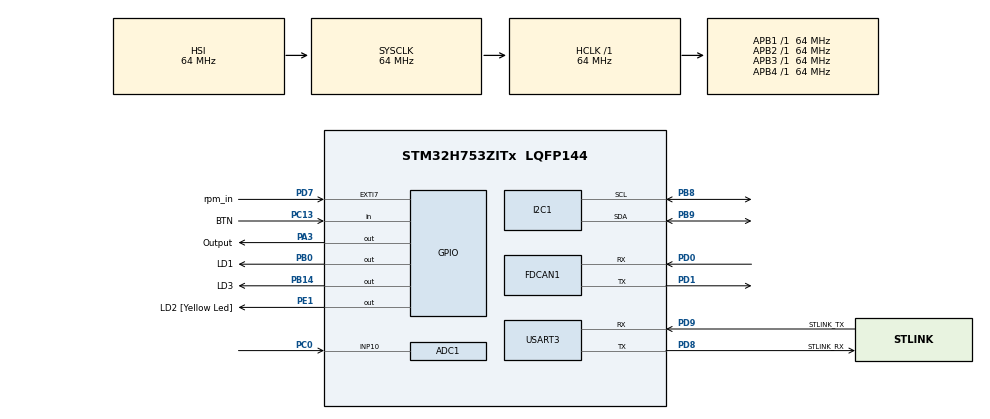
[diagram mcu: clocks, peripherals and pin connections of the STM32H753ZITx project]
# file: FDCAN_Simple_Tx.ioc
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ADC1.Channel-0\#ChannelRegularConversion=ADC_CHANNEL_10
ADC1.ContinuousConvMode=ENABLE
ADC1.NbrOfConversionFlag=1
ADC1.OffsetNumber-0\#ChannelRegularConversion=ADC_OFFSET_NONE
ADC1.OffsetSignedSaturation-0\#ChannelRegularConversion=DISABLE
ADC1.Rank-0\#ChannelRegularConversion=1
ADC1.SamplingTime-0\#ChannelRegularConversion=ADC_SAMPLETIME_1CYCLE_5
ADC1.master=1
CORTEX_M7.CPU_DCache=Disabled
CORTEX_M7.CPU_ICache=Disabled
CORTEX_M7.MPU_Control=__NULL
CORTEX_M7.default_mode_Activation=1
FDCAN1.AutoRetransmission=ENABLE
FDCAN1.CalculateBaudRateNominal=500000
FDCAN1.CalculateTimeBitNominal=2000
FDCAN1.CalculateTimeQuantumNominal=25.0
FDCAN1.DataPrescaler=16
FDCAN1.DataSyncJumpWidth=2
FDCAN1.DataTimeSeg1=2
FDCAN1.DataTimeSeg2=2
FDCAN1.FrameFormat=FDCAN_FRAME_FD_BRS
FDCAN1.NominalPrescaler=1
FDCAN1.NominalSyncJumpWidth=11
FDCAN1.NominalTimeSeg1=68
FDCAN1.NominalTimeSeg2=11
FDCAN1.RxBufferSize=FDCAN_DATA_BYTES_24
FDCAN1.RxFifo0ElmtSize=FDCAN_DATA_BYTES_24
FDCAN1.RxFifo0ElmtsNbr=0
FDCAN1.RxFifo1ElmtSize=FDCAN_DATA_BYTES_24
FDCAN1.StdFiltersNbr=1
FDCAN1.TransmitPause=DISABLE
FDCAN1.TxElmtSize=FDCAN_DATA_BYTES_24
FDCAN1.TxFifoQueueElmtsNbr=1
Mcu.Family=STM32H7
Mcu.Name=STM32H753ZITx
Mcu.Package=LQFP144
NVIC.EXTI9_5_IRQn=true\:0\:0\:false\:false\:true\:true\:true\:true
NVIC.FDCAN1_IT0_IRQn=true\:0\:0\:false\:false\:true\:true\:true\:true
NVIC.PriorityGroup=NVIC_PRIORITYGROUP_4
PA3.GPIO_Label=Output
PA3.Signal=GPIO_Output
PB0.GPIO_Label=LD1
PB0.Signal=GPIO_Output
PB14.GPIO_Label=LD3
PB14.Signal=GPIO_Output
PB8.Mode=I2C
PB8.Signal=I2C1_SCL
PB9.Mode=I2C
PB9.Signal=I2C1_SDA
PC0.Signal=ADCx_INP10
PC13.GPIO_Label=BTN
PC13.Signal=GPIO_Input
PC14-OSC32_IN\ (OSC32_IN).Signal=RCC_OSC32_IN
PC15-OSC32_OUT\ (OSC32_OUT).Signal=RCC_OSC32_OUT
PD0.Mode=FDCAN_Activate
PD0.Signal=FDCAN1_RX
PD1.Mode=FDCAN_Activate
PD1.Signal=FDCAN1_TX
PD7.GPIO_Label=rpm_in
PD7.Signal=GPXTI7
PD8.GPIO_Label=STLINK_RX
PD8.Mode=Asynchronous
PD8.Signal=USART3_TX
PD9.GPIO_Label=STLINK_TX
PD9.Mode=Asynchronous
PD9.Signal=USART3_RX
PE1.GPIO_Label=LD2 [Yellow Led]
PE1.Signal=GPIO_Output
PH0-OSC_IN\ (PH0).Signal=RCC_OSC_IN
PH1-OSC_OUT\ (PH1).Signal=RCC_OSC_OUT
ProjectManager.HeapSize=0x200
ProjectManager.StackSize=0x400
ProjectManager.TargetToolchain=STM32CubeIDE
RCC.ADCFreq_Value=80000000
RCC.APB1Freq_Value=64000000
RCC.APB2Freq_Value=64000000
RCC.APB3Freq_Value=64000000
RCC.APB4Freq_Value=64000000
RCC.CortexFreq_Value=64000000
RCC.DIVM1=4
RCC.DIVM2=4
RCC.DIVN1=10
RCC.DIVN2=10
RCC.DIVQ1=4
RCC.HCLKFreq_Value=64000000
RCC.HSE_VALUE=8000000
RCC.PLL2FRACN=0
RCC.PLLFRACN=0
RCC.PWR_Regulator_Voltage_Scale=PWR_REGULATOR_VOLTAGE_SCALE2
RCC.SYSCLKFreq_VALUE=64000000
RCC.USBFreq_Value=40000000
SH.ADCx_INP10.0=ADC1_INP10,IN10-Single-Ended
TIM6.Period=0xffff-1
TIM6.Prescaler=64-1
TIM7.Period=0xffff-1
TIM7.Prescaler=64-1
USART3.VirtualMode-Asynchronous=VM_ASYNC
VP_MEMORYMAP_VS_MEMORYMAP.Mode=CurAppReg
VP_TIM6_VS_ClockSourceINT.Mode=Enable_Timer
VP_TIM7_VS_ClockSourceINT.Mode=Enable_Timer
board=NUCLEO-H753ZI

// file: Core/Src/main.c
/* USER CODE BEGIN Header */
/**
  ******************************************************************************
  * @file           : main.c
  * @brief          : Main program body
  ******************************************************************************
  * @attention
  *
  * Copyright (c) 2025 STMicroelectronics.
  * All rights reserved.
  *
  * This software is licensed under terms that can be found in the LICENSE file
  * in the root directory of this software component.
  * If no LICENSE file comes with this software, it is provided AS-IS.
  *
  ******************************************************************************
  */
/* USER CODE END Header */
#include "main.h"

/* USER CODE BEGIN Includes */
#include "stdio.h"
#include "string.h"
#include <stdbool.h>

#define NODE_A_ID 1

#define ID_NODE_A_TX 0x100

#define DHT_PORT Output_GPIO_Port
#define DHT_PIN Output_Pin

#define MMA8451_ADDR        (0x1D << 1) // Dirección I2C (shifted)
#define WHO_AM_I_REG        0x0D
#define CTRL_REG1           0x2A
#define OUT_X_MSB           0x01

#define MMA8451_ADDR        (0x1D << 1) // Dirección I2C (shifted)
#define WHO_AM_I_REG        0x0D
#define CTRL_REG1           0x2A
#define OUT_X_MSB           0x01

uint8_t Rh_byte1, Rh_byte2, Temp_byte1, Temp_byte2, reflex;
uint16_t SUM;

uint16_t ADC_VAL;
float voltage=0;
float angle=0;

typedef struct {
    float Temperature;
    float Humidity;
} DHT_DataTypedef;

DHT_DataTypedef DHT11_Data;

float Temperature, Humidity;

int16_t ax, ay, az;
float ax_g, ay_g, az_g;

char msg[300];

volatile uint32_t pulse_count = 0;
uint32_t last_time = 0;
uint32_t rpm = 0;

uint32_t last_interrupt_time = 0;
const uint32_t debounce_ms = 10;

/* USER CODE END Includes */

ADC_HandleTypeDef hadc1;

FDCAN_HandleTypeDef hfdcan1;

I2C_HandleTypeDef hi2c1;

TIM_HandleTypeDef htim6;
TIM_HandleTypeDef htim7;

UART_HandleTypeDef huart3;

/* USER CODE BEGIN PV */

uint8_t Node_ID = NODE_A_ID;

// Datos CAN
FDCAN_TxHeaderTypeDef TxHeader;
//uint8_t TxData[1];
uint8_t TxData[64]; // 32-bit integer

float float1 = 3.1416f; // Valor de ejemplo a enviar
float float2 = 2.7182f;
float float3 = 1.34f;
uint8_t X=1;

//float receivedFloat = 0.0f;  // Variable para almacenar el float recibido
//char msg[50];

void SendFloat(float value1, float value2, float value3, float value4, float value5, float value6, float value7, float value8)
{
    // Copiar los floats al buffer
    memcpy(&TxData[0], &value1, sizeof(float));
    memcpy(&TxData[4], &value2, sizeof(float));
    memcpy(&TxData[8], &value3, sizeof(float));   // Angle
    memcpy(&TxData[12], &value4, sizeof(float));
    memcpy(&TxData[16], &value5, sizeof(float));
    memcpy(&TxData[20], &value6, sizeof(float));
    memcpy(&TxData[24], &value7, sizeof(float));
    memcpy(&TxData[28], &value8, sizeof(float));

    // Configurar el header (asegúrate de que esto ya está inicializado)
    TxHeader.DataLength = FDCAN_DLC_BYTES_64;  // 12 bytes
    TxHeader.IdType = FDCAN_STANDARD_ID;       // ID estándar

    // Enviar
    if (HAL_FDCAN_AddMessageToTxFifoQ(&hfdcan1, &TxHeader, TxData) != HAL_OK) {
        // Manejar error de transmisión
        Error_Handler();
    }
}

//CODE for Sensor

void delay (uint16_t delay)
{
	__HAL_TIM_SET_COUNTER(&htim6,0);
	while (__HAL_TIM_GET_COUNTER(&htim6) < delay);
}

uint8_t Presence = 0;

void Set_Pin_Output (GPIO_TypeDef *GPIOx, uint16_t GPIO_Pin)
{
	GPIO_InitTypeDef GPIO_InitStruct = {0};
	GPIO_InitStruct.Pin = GPIO_Pin;
	GPIO_InitStruct.Mode = GPIO_MODE_OUTPUT_PP;
	GPIO_InitStruct.Speed = GPIO_SPEED_FREQ_LOW;
	HAL_GPIO_Init(GPIOx, &GPIO_InitStruct);
}

void Set_Pin_Input (GPIO_TypeDef *GPIOx, uint16_t GPIO_Pin)
{
	GPIO_InitTypeDef GPIO_InitStruct = {0};
	GPIO_InitStruct.Pin = GPIO_Pin;
	GPIO_InitStruct.Mode = GPIO_MODE_INPUT;
	GPIO_InitStruct.Pull = GPIO_NOPULL;
	HAL_GPIO_Init(GPIOx, &GPIO_InitStruct);
}

void DHT_Start (void)
{
	Set_Pin_Output (DHT_PORT, DHT_PIN);  // set the pin as output
	HAL_GPIO_WritePin (DHT_PORT, DHT_PIN, 0);   // pull the pin low

	delay (18000);   // wait for 18ms

    HAL_GPIO_WritePin (DHT_PORT, DHT_PIN, 1);   // pull the pin high
    delay (20);   // wait for 30us
	Set_Pin_Input(DHT_PORT, DHT_PIN);    // set as input
}

uint8_t DHT_Check_Response (void)
{
	uint8_t Response = 0;
	delay (40);
	if (!(HAL_GPIO_ReadPin (DHT_PORT, DHT_PIN)))
	{
		delay (80);
		if ((HAL_GPIO_ReadPin (DHT_PORT, DHT_PIN))) Response = 1;
		else Response = -1;
	}
	while ((HAL_GPIO_ReadPin (DHT_PORT, DHT_PIN)));   // wait for the pin to go low

	return Response;
}

uint8_t DHT_Read (void)
{
    uint8_t i = 0, j = 0;
    for (j = 0; j < 8; j++)
    {
        uint32_t timeout = 0;
        while (!(HAL_GPIO_ReadPin (DHT_PORT, DHT_PIN)) && timeout++ < 1000);
        delay (40);
        if (!(HAL_GPIO_ReadPin (DHT_PORT, DHT_PIN)))
        {
            i &= ~(1 << (7 - j)); // Escribe 0 en el bit
        }
        else {
            i |= (1 << (7 - j));  // Escribe 1 en el bit
        }

        timeout = 0;
        while ((HAL_GPIO_ReadPin (DHT_PORT, DHT_PIN)) && timeout++ < 1000);
    }
    return i;
}

void DHT_GetData (DHT_DataTypedef *DHT_Data)
{
    DHT_Start ();
	Presence = DHT_Check_Response ();
	Rh_byte1 = DHT_Read ();
	Rh_byte2 = DHT_Read ();
	Temp_byte1 = DHT_Read ();
	Temp_byte2 = DHT_Read ();
	SUM = DHT_Read();

	if (SUM == (Rh_byte1+Rh_byte2+Temp_byte1+Temp_byte2))
	{
		DHT_Data->Temperature = Temp_byte1;
		DHT_Data->Humidity = Rh_byte1;

	}
}

uint8_t read_register(uint8_t reg) {
    uint8_t value;
    HAL_I2C_Mem_Read(&hi2c1, MMA8451_ADDR, reg, 1, &value, 1, HAL_MAX_DELAY);
    return value;
}

void write_register(uint8_t reg, uint8_t value) {
    HAL_I2C_Mem_Write(&hi2c1, MMA8451_ADDR, reg, 1, &value, 1, HAL_MAX_DELAY);
}

int16_t convert_accel(uint8_t msb, uint8_t lsb) {
    int16_t value = (msb << 8) | lsb;
    value = value >> 2;
    if (value & (1 << 13)) {
        value |= 0xC000;
    }
    return value;
}

void read_accel(int16_t *x, int16_t *y, int16_t *z) {
    uint8_t data[6];
    HAL_I2C_Mem_Read(&hi2c1, MMA8451_ADDR, OUT_X_MSB, 1, data, 6, HAL_MAX_DELAY);

    *x = convert_accel(data[0], data[1]);
    *y = convert_accel(data[2], data[3]);
    *z = convert_accel(data[4], data[5]);
}

/* USER CODE END PV */

void SystemClock_Config(void);
static void MX_GPIO_Init(void);
static void MX_FDCAN1_Init(void);
static void MX_TIM6_Init(void);
static void MX_ADC1_Init(void);
static void MX_I2C1_Init(void);
static void MX_TIM7_Init(void);
static void MX_USART3_UART_Init(void);

/* USER CODE BEGIN 0 */
void HAL_GPIO_EXTI_Callback(uint16_t GPIO_Pin)
{
    if (GPIO_Pin == rpm_in_Pin)
    {
        uint32_t now = HAL_GetTick();
        if (now - last_interrupt_time > debounce_ms)
        {
            pulse_count++;
            last_interrupt_time = now;
        }
    }
}
/* USER CODE END 0 */

int main(void)
{

  /* MCU Configuration--------------------------------------------------------*/

  /* Reset of all peripherals, Initializes the Flash interface and the Systick. */
  HAL_Init();

  /* Configure the system clock */
  SystemClock_Config();

  /* Initialize all configured peripherals */
  MX_GPIO_Init();
  MX_FDCAN1_Init();
  MX_TIM6_Init();
  MX_ADC1_Init();
  MX_I2C1_Init();
  MX_TIM7_Init();
  MX_USART3_UART_Init();
  /* USER CODE BEGIN 2 */
  last_time = HAL_GetTick();

  HAL_TIM_Base_Start(&htim6);
  //HAL_TIM_Base_Start_IT(&htim7);
  HAL_FDCAN_Start(&hfdcan1);
  HAL_FDCAN_ActivateNotification(&hfdcan1, FDCAN_IT_RX_FIFO0_NEW_MESSAGE, 0);

  // Configurar header de transmisión
  TxHeader.Identifier = ID_NODE_A_TX;
  TxHeader.IdType = FDCAN_STANDARD_ID;
  TxHeader.TxFrameType = FDCAN_DATA_FRAME;
  TxHeader.DataLength = FDCAN_DLC_BYTES_64;
  TxHeader.ErrorStateIndicator = FDCAN_ESI_ACTIVE;
  TxHeader.BitRateSwitch = FDCAN_BRS_ON;
  TxHeader.FDFormat = FDCAN_FD_CAN;
  TxHeader.TxEventFifoControl = FDCAN_NO_TX_EVENTS;
  TxHeader.MessageMarker = 0;

  int16_t ax, ay, az;
  uint8_t who_am_i = read_register(WHO_AM_I_REG);
  if (who_am_i != 0x1A) {  // El valor esperado para MMA8451
      Error_Handler();
  }

  // Configurar el acelerómetro
  write_register(CTRL_REG1, 0x01);  // Activar a 800Hz en modo activo
  HAL_Delay(10);

  /* USER CODE END 2 */

  /* Infinite loop */
  while (1)
  {

    /* USER CODE BEGIN 3 */

      DHT_GetData(&DHT11_Data);
      Temperature = DHT11_Data.Temperature;
      Humidity = DHT11_Data.Humidity;

	  HAL_ADC_Start(&hadc1);
	  HAL_ADC_PollForConversion(&hadc1, 10);
	  ADC_VAL=HAL_ADC_GetValue(&hadc1);
	  HAL_ADC_Stop(&hadc1);

	  voltage = (float)(ADC_VAL*3.3f)/ 65535.0f;
	  angle = (voltage*235)/3.3;

	  read_accel(&ax, &ay, &az);

	  float ax_ms2 = ax / 4096.0f * 9.81f;
	  float ay_ms2 = ay / 4096.0f * 9.81f;
	  float az_ms2 = az / 4096.0f * 9.81f;

	  uint32_t now = HAL_GetTick();

	  if (now - last_time >= 1000) // Cada 1 segundo
	  {
		  rpm = pulse_count * 60;
		  pulse_count = 0;
		  last_time = now;
	  }

	  //&& (now - last_time >= 1000)

	 if ( (Node_ID == NODE_A_ID)  )
	  {
		  SendFloat(rpm, Humidity, angle, ax_ms2, ay_ms2, az_ms2, Temperature, float2);
		  HAL_Delay(1000);

	  // Cambiar el valor para el próximo envío (opcional)
	  //float1 += 0.1f;
	  }

	  snprintf(msg, sizeof(msg), "Temperature: %.2f, Humidity: %.2f \r\n Angle: %.2f \r\n Ax: %.2f, Ay: %.2f Az: %.2f \r\n RPM: %.f Float1 %.2f \r\n Float2 %.2f \r\n", Temperature, Humidity, angle, ax_ms2, ay_ms2, az_ms2, (float)rpm, float1,float2);
	  HAL_UART_Transmit(&huart3, (uint8_t*)msg, strlen(msg), HAL_MAX_DELAY);

	  HAL_Delay(1000);

  }
  /* USER CODE END 3 */
}

void SystemClock_Config(void)
{
  RCC_OscInitTypeDef RCC_OscInitStruct = {0};
  RCC_ClkInitTypeDef RCC_ClkInitStruct = {0};

  /** Supply configuration update enable
  */
  HAL_PWREx_ConfigSupply(PWR_LDO_SUPPLY);

  /** Configure the main internal regulator output voltage
  */
  __HAL_PWR_VOLTAGESCALING_CONFIG(PWR_REGULATOR_VOLTAGE_SCALE2);

  while(!__HAL_PWR_GET_FLAG(PWR_FLAG_VOSRDY)) {}

  /** Initializes the RCC Oscillators according to the specified parameters
  * in the RCC_OscInitTypeDef structure.
  */
  RCC_OscInitStruct.OscillatorType = RCC_OSCILLATORTYPE_HSI;
  RCC_OscInitStruct.HSIState = RCC_HSI_DIV1;
  RCC_OscInitStruct.HSICalibrationValue = RCC_HSICALIBRATION_DEFAULT;
  RCC_OscInitStruct.PLL.PLLState = RCC_PLL_ON;
  RCC_OscInitStruct.PLL.PLLSource = RCC_PLLSOURCE_HSI;
  RCC_OscInitStruct.PLL.PLLM = 4;
  RCC_OscInitStruct.PLL.PLLN = 10;
  RCC_OscInitStruct.PLL.PLLP = 2;
  RCC_OscInitStruct.PLL.PLLQ = 4;
  RCC_OscInitStruct.PLL.PLLR = 2;
  RCC_OscInitStruct.PLL.PLLRGE = RCC_PLL1VCIRANGE_3;
  RCC_OscInitStruct.PLL.PLLVCOSEL = RCC_PLL1VCOMEDIUM;
  RCC_OscInitStruct.PLL.PLLFRACN = 0;
  if (HAL_RCC_OscConfig(&RCC_OscInitStruct) != HAL_OK)
  {
    Error_Handler();
  }

  /** Initializes the CPU, AHB and APB buses clocks
  */
  RCC_ClkInitStruct.ClockType = RCC_CLOCKTYPE_HCLK|RCC_CLOCKTYPE_SYSCLK
                              |RCC_CLOCKTYPE_PCLK1|RCC_CLOCKTYPE_PCLK2
                              |RCC_CLOCKTYPE_D3PCLK1|RCC_CLOCKTYPE_D1PCLK1;
  RCC_ClkInitStruct.SYSCLKSource = RCC_SYSCLKSOURCE_HSI;
  RCC_ClkInitStruct.SYSCLKDivider = RCC_SYSCLK_DIV1;
  RCC_ClkInitStruct.AHBCLKDivider = RCC_HCLK_DIV1;
  RCC_ClkInitStruct.APB3CLKDivider = RCC_APB3_DIV1;
  RCC_ClkInitStruct.APB1CLKDivider = RCC_APB1_DIV1;
  RCC_ClkInitStruct.APB2CLKDivider = RCC_APB2_DIV1;
  RCC_ClkInitStruct.APB4CLKDivider = RCC_APB4_DIV1;

  if (HAL_RCC_ClockConfig(&RCC_ClkInitStruct, FLASH_LATENCY_1) != HAL_OK)
  {
    Error_Handler();
  }
}

static void MX_ADC1_Init(void)
{

  ADC_MultiModeTypeDef multimode = {0};
  ADC_ChannelConfTypeDef sConfig = {0};

  /** Common config
  */
  hadc1.Instance = ADC1;
  hadc1.Init.ClockPrescaler = ADC_CLOCK_ASYNC_DIV2;
  hadc1.Init.Resolution = ADC_RESOLUTION_16B;
  hadc1.Init.ScanConvMode = ADC_SCAN_DISABLE;
  hadc1.Init.EOCSelection = ADC_EOC_SINGLE_CONV;
  hadc1.Init.LowPowerAutoWait = DISABLE;
  hadc1.Init.ContinuousConvMode = ENABLE;
  hadc1.Init.NbrOfConversion = 1;
  hadc1.Init.DiscontinuousConvMode = DISABLE;
  hadc1.Init.ExternalTrigConv = ADC_SOFTWARE_START;
  hadc1.Init.ExternalTrigConvEdge = ADC_EXTERNALTRIGCONVEDGE_NONE;
  hadc1.Init.ConversionDataManagement = ADC_CONVERSIONDATA_DR;
  hadc1.Init.Overrun = ADC_OVR_DATA_PRESERVED;
  hadc1.Init.LeftBitShift = ADC_LEFTBITSHIFT_NONE;
  hadc1.Init.OversamplingMode = DISABLE;
  hadc1.Init.Oversampling.Ratio = 1;
  if (HAL_ADC_Init(&hadc1) != HAL_OK)
  {
    Error_Handler();
  }

  /** Configure the ADC multi-mode
  */
  multimode.Mode = ADC_MODE_INDEPENDENT;
  if (HAL_ADCEx_MultiModeConfigChannel(&hadc1, &multimode) != HAL_OK)
  {
    Error_Handler();
  }

  /** Configure Regular Channel
  */
  sConfig.Channel = ADC_CHANNEL_10;
  sConfig.Rank = ADC_REGULAR_RANK_1;
  sConfig.SamplingTime = ADC_SAMPLETIME_1CYCLE_5;
  sConfig.SingleDiff = ADC_SINGLE_ENDED;
  sConfig.OffsetNumber = ADC_OFFSET_NONE;
  sConfig.Offset = 0;
  sConfig.OffsetSignedSaturation = DISABLE;
  if (HAL_ADC_ConfigChannel(&hadc1, &sConfig) != HAL_OK)
  {
    Error_Handler();
  }

}

static void MX_FDCAN1_Init(void)
{

  hfdcan1.Instance = FDCAN1;
  hfdcan1.Init.FrameFormat = FDCAN_FRAME_FD_NO_BRS;
  hfdcan1.Init.Mode = FDCAN_MODE_NORMAL;
  hfdcan1.Init.AutoRetransmission = ENABLE;
  hfdcan1.Init.TransmitPause = DISABLE;
  hfdcan1.Init.ProtocolException = DISABLE;
  hfdcan1.Init.NominalPrescaler = 1;
  hfdcan1.Init.NominalSyncJumpWidth = 11;
  hfdcan1.Init.NominalTimeSeg1 = 68;
  hfdcan1.Init.NominalTimeSeg2 = 11;
  hfdcan1.Init.DataPrescaler = 16;
  hfdcan1.Init.DataSyncJumpWidth = 2;
  hfdcan1.Init.DataTimeSeg1 = 2;
  hfdcan1.Init.DataTimeSeg2 = 2;
  hfdcan1.Init.MessageRAMOffset = 0;
  hfdcan1.Init.StdFiltersNbr = 1;
  hfdcan1.Init.ExtFiltersNbr = 0;
  hfdcan1.Init.RxFifo0ElmtsNbr = 0;
  hfdcan1.Init.RxFifo0ElmtSize = FDCAN_DATA_BYTES_24;
  hfdcan1.Init.RxFifo1ElmtsNbr = 0;
  hfdcan1.Init.RxFifo1ElmtSize = FDCAN_DATA_BYTES_24;
  hfdcan1.Init.RxBuffersNbr = 0;
  hfdcan1.Init.RxBufferSize = FDCAN_DATA_BYTES_24;
  hfdcan1.Init.TxEventsNbr = 0;
  hfdcan1.Init.TxBuffersNbr = 0;
  hfdcan1.Init.TxFifoQueueElmtsNbr = 1;
  hfdcan1.Init.TxFifoQueueMode = FDCAN_TX_FIFO_OPERATION;
  hfdcan1.Init.TxElmtSize = FDCAN_DATA_BYTES_24;
  if (HAL_FDCAN_Init(&hfdcan1) != HAL_OK)
  {
    Error_Handler();
  }

}

static void MX_I2C1_Init(void)
{

  hi2c1.Instance = I2C1;
  hi2c1.Init.Timing = 0x10707DBC;
  hi2c1.Init.OwnAddress1 = 0;
  hi2c1.Init.AddressingMode = I2C_ADDRESSINGMODE_7BIT;
  hi2c1.Init.DualAddressMode = I2C_DUALADDRESS_DISABLE;
  hi2c1.Init.OwnAddress2 = 0;
  hi2c1.Init.OwnAddress2Masks = I2C_OA2_NOMASK;
  hi2c1.Init.GeneralCallMode = I2C_GENERALCALL_DISABLE;
  hi2c1.Init.NoStretchMode = I2C_NOSTRETCH_DISABLE;
  if (HAL_I2C_Init(&hi2c1) != HAL_OK)
  {
    Error_Handler();
  }

  /** Configure Analogue filter
  */
  if (HAL_I2CEx_ConfigAnalogFilter(&hi2c1, I2C_ANALOGFILTER_ENABLE) != HAL_OK)
  {
    Error_Handler();
  }

  /** Configure Digital filter
  */
  if (HAL_I2CEx_ConfigDigitalFilter(&hi2c1, 0) != HAL_OK)
  {
    Error_Handler();
  }

}

static void MX_TIM6_Init(void)
{

  TIM_MasterConfigTypeDef sMasterConfig = {0};

  htim6.Instance = TIM6;
  htim6.Init.Prescaler = 64-1;
  htim6.Init.CounterMode = TIM_COUNTERMODE_UP;
  htim6.Init.Period = 0xffff-1;
  htim6.Init.AutoReloadPreload = TIM_AUTORELOAD_PRELOAD_DISABLE;
  if (HAL_TIM_Base_Init(&htim6) != HAL_OK)
  {
    Error_Handler();
  }
  sMasterConfig.MasterOutputTrigger = TIM_TRGO_RESET;
  sMasterConfig.MasterSlaveMode = TIM_MASTERSLAVEMODE_DISABLE;
  if (HAL_TIMEx_MasterConfigSynchronization(&htim6, &sMasterConfig) != HAL_OK)
  {
    Error_Handler();
  }

}

static void MX_TIM7_Init(void)
{

  TIM_MasterConfigTypeDef sMasterConfig = {0};

  htim7.Instance = TIM7;
  htim7.Init.Prescaler = 64-1;
  htim7.Init.CounterMode = TIM_COUNTERMODE_UP;
  htim7.Init.Period = 0xffff-1;
  htim7.Init.AutoReloadPreload = TIM_AUTORELOAD_PRELOAD_DISABLE;
  if (HAL_TIM_Base_Init(&htim7) != HAL_OK)
  {
    Error_Handler();
  }
  sMasterConfig.MasterOutputTrigger = TIM_TRGO_RESET;
  sMasterConfig.MasterSlaveMode = TIM_MASTERSLAVEMODE_DISABLE;
  if (HAL_TIMEx_MasterConfigSynchronization(&htim7, &sMasterConfig) != HAL_OK)
  {
    Error_Handler();
  }

}

static void MX_USART3_UART_Init(void)
{

  huart3.Instance = USART3;
  huart3.Init.BaudRate = 115200;
  huart3.Init.WordLength = UART_WORDLENGTH_8B;
  huart3.Init.StopBits = UART_STOPBITS_1;
  huart3.Init.Parity = UART_PARITY_NONE;
  huart3.Init.Mode = UART_MODE_TX_RX;
  huart3.Init.HwFlowCtl = UART_HWCONTROL_NONE;
  huart3.Init.OverSampling = UART_OVERSAMPLING_16;
  huart3.Init.OneBitSampling = UART_ONE_BIT_SAMPLE_DISABLE;
  huart3.Init.ClockPrescaler = UART_PRESCALER_DIV1;
  huart3.AdvancedInit.AdvFeatureInit = UART_ADVFEATURE_NO_INIT;
  if (HAL_UART_Init(&huart3) != HAL_OK)
  {
    Error_Handler();
  }
  if (HAL_UARTEx_SetTxFifoThreshold(&huart3, UART_TXFIFO_THRESHOLD_1_8) != HAL_OK)
  {
    Error_Handler();
  }
  if (HAL_UARTEx_SetRxFifoThreshold(&huart3, UART_RXFIFO_THRESHOLD_1_8) != HAL_OK)
  {
    Error_Handler();
  }
  if (HAL_UARTEx_DisableFifoMode(&huart3) != HAL_OK)
  {
    Error_Handler();
  }

}

static void MX_GPIO_Init(void)
{
  GPIO_InitTypeDef GPIO_InitStruct = {0};

  /* GPIO Ports Clock Enable */
  __HAL_RCC_GPIOC_CLK_ENABLE();
  __HAL_RCC_GPIOH_CLK_ENABLE();
  __HAL_RCC_GPIOA_CLK_ENABLE();
  __HAL_RCC_GPIOB_CLK_ENABLE();
  __HAL_RCC_GPIOD_CLK_ENABLE();
  __HAL_RCC_GPIOE_CLK_ENABLE();

  /*Configure GPIO pin Output Level */
  HAL_GPIO_WritePin(Output_GPIO_Port, Output_Pin, GPIO_PIN_RESET);

  /*Configure GPIO pin Output Level */
  HAL_GPIO_WritePin(GPIOB, LD1_Pin|LD3_Pin, GPIO_PIN_RESET);

  /*Configure GPIO pin Output Level */
  HAL_GPIO_WritePin(LD2_GPIO_Port, LD2_Pin, GPIO_PIN_RESET);

  /*Configure GPIO pin : BTN_Pin */
  GPIO_InitStruct.Pin = BTN_Pin;
  GPIO_InitStruct.Mode = GPIO_MODE_INPUT;
  GPIO_InitStruct.Pull = GPIO_NOPULL;
  HAL_GPIO_Init(BTN_GPIO_Port, &GPIO_InitStruct);

  /*Configure GPIO pin : Output_Pin */
  GPIO_InitStruct.Pin = Output_Pin;
  GPIO_InitStruct.Mode = GPIO_MODE_OUTPUT_PP;
  GPIO_InitStruct.Pull = GPIO_NOPULL;
  GPIO_InitStruct.Speed = GPIO_SPEED_FREQ_LOW;
  HAL_GPIO_Init(Output_GPIO_Port, &GPIO_InitStruct);

  /*Configure GPIO pins : LD1_Pin LD3_Pin */
  GPIO_InitStruct.Pin = LD1_Pin|LD3_Pin;
  GPIO_InitStruct.Mode = GPIO_MODE_OUTPUT_PP;
  GPIO_InitStruct.Pull = GPIO_NOPULL;
  GPIO_InitStruct.Speed = GPIO_SPEED_FREQ_LOW;
  HAL_GPIO_Init(GPIOB, &GPIO_InitStruct);

  /*Configure GPIO pin : rpm_in_Pin */
  GPIO_InitStruct.Pin = rpm_in_Pin;
  GPIO_InitStruct.Mode = GPIO_MODE_IT_RISING;
  GPIO_InitStruct.Pull = GPIO_NOPULL;
  HAL_GPIO_Init(rpm_in_GPIO_Port, &GPIO_InitStruct);

  /*Configure GPIO pin : LD2_Pin */
  GPIO_InitStruct.Pin = LD2_Pin;
  GPIO_InitStruct.Mode = GPIO_MODE_OUTPUT_PP;
  GPIO_InitStruct.Pull = GPIO_NOPULL;
  GPIO_InitStruct.Speed = GPIO_SPEED_FREQ_LOW;
  HAL_GPIO_Init(LD2_GPIO_Port, &GPIO_InitStruct);

  /* EXTI interrupt init*/
  HAL_NVIC_SetPriority(rpm_in_EXTI_IRQn, 0, 0);
  HAL_NVIC_EnableIRQ(rpm_in_EXTI_IRQn);

}

void Error_Handler(void)
{
  __disable_irq();
  while (1)
  {
  }
}

#include "main.h"

/* USER CODE BEGIN Includes */
#include "stdio.h"
#include "string.h"

//CAN BUS
#define NODE_A_ID 1
#define ID_NODE_A_TX 0x100

//Temperature - Humidity
#define DHT_PORT Output_GPIO_Port
#define DHT_PIN Output_Pin

//Accelerometer
#define MMA8451_ADDR        (0x1D << 1) // Dirección I2C (shifted)
#define WHO_AM_I_REG        0x0D
#define CTRL_REG1           0x2A
#define OUT_X_MSB           0x01

//BUFFER message
char msg[300];

//Temperature - Humidity
uint8_t Rh_byte1, Rh_byte2, Temp_byte1, Temp_byte2, reflex;
uint16_t SUM;
typedef struct {
    float Temperature;
    float Humidity;
} DHT_DataTypedef;
float Temperature, Humidity;

DHT_DataTypedef DHT11_Data;

//Angle
uint16_t ADC_VAL;
float voltage=0;
float angle=0;

//Acceleration
int16_t ax, ay, az;
float ax_g, ay_g, az_g;

//RPM
volatile uint32_t pulse_count = 0;
uint32_t last_time = 0;
uint32_t rpm = 0;

uint32_t last_interrupt_time = 0;
const uint32_t debounce_ms = 10;
/* USER CODE END Includes */

/* USER CODE BEGIN PD */
uint8_t Node_ID = NODE_A_ID;

// Datos CAN
FDCAN_TxHeaderTypeDef TxHeader;

uint8_t TxData[32]; // 3 floats x 4 bytes

float float1 = 3.1416f; // Valor de ejemplo a enviar
float float2 = 2.7182f;
float float3 = 1.34f;
float float4 = 3.70f;
float float5 = 9.18f;
float float6 = 6.79f;
float float7 = 5.93f;
float float8 = 10.99f;
/* USER CODE END PD */

ADC_HandleTypeDef hadc1;

FDCAN_HandleTypeDef hfdcan1;

I2C_HandleTypeDef hi2c1;

TIM_HandleTypeDef htim6;

UART_HandleTypeDef huart3;

void SystemClock_Config(void);
static void MX_GPIO_Init(void);
static void MX_FDCAN1_Init(void);
static void MX_USART3_UART_Init(void);
static void MX_I2C1_Init(void);
static void MX_TIM6_Init(void);
static void MX_ADC1_Init(void);

/* USER CODE BEGIN 0 */

//SEND CAN BUS
void SendFloat(float value1,float value2,float value3,float value4,float value5,float value6,float value7)
{
    // Copiar los floats al buffer
    memcpy(&TxData[0],  &value1, sizeof(float));
    memcpy(&TxData[4],  &value2, sizeof(float));
    memcpy(&TxData[8],  &value3, sizeof(float));
    memcpy(&TxData[12], &value4, sizeof(float));
    memcpy(&TxData[16], &value5, sizeof(float));
    memcpy(&TxData[20], &value6, sizeof(float));
    memcpy(&TxData[24], &value7, sizeof(float));
    //memcpy(&TxData[28], &value8, sizeof(float));

    // Configurar el header (asegúrate de que esto ya está inicializado)
    TxHeader.DataLength = FDCAN_DLC_BYTES_32;  // 12 bytes
    TxHeader.IdType = FDCAN_STANDARD_ID;       // ID estándar

    // Enviar
    if (HAL_FDCAN_AddMessageToTxFifoQ(&hfdcan1, &TxHeader, TxData) != HAL_OK) {
        // Manejar error de transmisión
        Error_Handler();
    }
}

// ***** CODE for Sensor DHT-11 Temperature Humidity Sensor

void delay (uint16_t delay)
{
	__HAL_TIM_SET_COUNTER(&htim6,0);
	while (__HAL_TIM_GET_COUNTER(&htim6) < delay);
}
uint8_t Presence = 0;
void Set_Pin_Output (GPIO_TypeDef *GPIOx, uint16_t GPIO_Pin)
{
	GPIO_InitTypeDef GPIO_InitStruct = {0};
	GPIO_InitStruct.Pin = GPIO_Pin;
	GPIO_InitStruct.Mode = GPIO_MODE_OUTPUT_PP;
	GPIO_InitStruct.Speed = GPIO_SPEED_FREQ_LOW;
	HAL_GPIO_Init(GPIOx, &GPIO_InitStruct);
}
void Set_Pin_Input (GPIO_TypeDef *GPIOx, uint16_t GPIO_Pin)
{
	GPIO_InitTypeDef GPIO_InitStruct = {0};
	GPIO_InitStruct.Pin = GPIO_Pin;
	GPIO_InitStruct.Mode = GPIO_MODE_INPUT;
	GPIO_InitStruct.Pull = GPIO_NOPULL;
	HAL_GPIO_Init(GPIOx, &GPIO_InitStruct);
}

void DHT_Start (void)
{
	Set_Pin_Output (DHT_PORT, DHT_PIN);  // set the pin as output
	HAL_GPIO_WritePin (DHT_PORT, DHT_PIN, 0);   // pull the pin low

	delay (18000);   // wait for 18ms

    HAL_GPIO_WritePin (DHT_PORT, DHT_PIN, 1);   // pull the pin high
    delay (20);   // wait for 30us
	Set_Pin_Input(DHT_PORT, DHT_PIN);    // set as input
}

uint8_t DHT_Check_Response (void)
{
	uint8_t Response = 0;
	delay (40);
	if (!(HAL_GPIO_ReadPin (DHT_PORT, DHT_PIN)))
	{
		delay (80);
		if ((HAL_GPIO_ReadPin (DHT_PORT, DHT_PIN))) Response = 1;
		else Response = -1;
	}
	while ((HAL_GPIO_ReadPin (DHT_PORT, DHT_PIN)));   // wait for the pin to go low

	return Response;
}

uint8_t DHT_Read (void)
{
    uint8_t i = 0, j = 0;
    for (j = 0; j < 8; j++)
    {
        uint32_t timeout = 0;
        while (!(HAL_GPIO_ReadPin (DHT_PORT, DHT_PIN)) && timeout++ < 1000);
        delay (40);
        if (!(HAL_GPIO_ReadPin (DHT_PORT, DHT_PIN)))
        {
            i &= ~(1 << (7 - j)); // Escribe 0 en el bit
        }
        else {
            i |= (1 << (7 - j));  // Escribe 1 en el bit
        }

        timeout = 0;
        while ((HAL_GPIO_ReadPin (DHT_PORT, DHT_PIN)) && timeout++ < 1000);
    }
    return i;
}

void DHT_GetData (DHT_DataTypedef *DHT_Data)
{
    DHT_Start ();
	Presence = DHT_Check_Response ();
	Rh_byte1 = DHT_Read ();
	Rh_byte2 = DHT_Read ();
	Temp_byte1 = DHT_Read ();
	Temp_byte2 = DHT_Read ();
	SUM = DHT_Read();

	if (SUM == (Rh_byte1+Rh_byte2+Temp_byte1+Temp_byte2))
	{
		DHT_Data->Temperature = Temp_byte1;
		DHT_Data->Humidity = Rh_byte1;

	}
}

// ***** CODE for Acceleration Sensor
uint8_t read_register(uint8_t reg) {
    uint8_t value;
    HAL_I2C_Mem_Read(&hi2c1, MMA8451_ADDR, reg, 1, &value, 1, HAL_MAX_DELAY);
    return value;
}

void write_register(uint8_t reg, uint8_t value) {
    HAL_I2C_Mem_Write(&hi2c1, MMA8451_ADDR, reg, 1, &value, 1, HAL_MAX_DELAY);
}

int16_t convert_accel(uint8_t msb, uint8_t lsb) {
    int16_t value = (msb << 8) | lsb;
    value = value >> 2;
    if (value & (1 << 13)) {
        value |= 0xC000;
    }
    return value;
}

void read_accel(int16_t *x, int16_t *y, int16_t *z) {
    uint8_t data[6];
    HAL_I2C_Mem_Read(&hi2c1, MMA8451_ADDR, OUT_X_MSB, 1, data, 6, HAL_MAX_DELAY);

    *x = convert_accel(data[0], data[1]);
    *y = convert_accel(data[2], data[3]);
    *z = convert_accel(data[4], data[5]);
}

// ***** CODE Interruption for RPM Sensor
void HAL_GPIO_EXTI_Callback(uint16_t GPIO_Pin)
{
    if (GPIO_Pin == rpm_in_Pin)
    {
        uint32_t now = HAL_GetTick();
        if (now - last_interrupt_time > debounce_ms)
        {
            pulse_count++;
            last_interrupt_time = now;
        }
    }
}

/* USER CODE END 0 */

int main(void)
{

  /* MCU Configuration--------------------------------------------------------*/

  /* Reset of all peripherals, Initializes the Flash interface and the Systick. */
  HAL_Init();

  /* Configure the system clock */
  SystemClock_Config();

  /* Initialize all configured peripherals */
  MX_GPIO_Init();
  MX_FDCAN1_Init();
  MX_USART3_UART_Init();
  MX_I2C1_Init();
  MX_TIM6_Init();
  MX_ADC1_Init();
  /* USER CODE BEGIN 2 */

  //RPM flag
  last_time = HAL_GetTick();
  //Timer 6 flag start DHT-11
  HAL_TIM_Base_Start(&htim6);

  //Starter CAN Bus
  HAL_FDCAN_Start(&hfdcan1);
  HAL_FDCAN_ActivateNotification(&hfdcan1, FDCAN_IT_RX_FIFO0_NEW_MESSAGE, 0);

  // Configurar header de transmisión
  TxHeader.Identifier = ID_NODE_A_TX;
  TxHeader.IdType = FDCAN_STANDARD_ID;
  TxHeader.TxFrameType = FDCAN_DATA_FRAME;
  TxHeader.DataLength = FDCAN_DLC_BYTES_64;
  TxHeader.ErrorStateIndicator = FDCAN_ESI_ACTIVE;
  TxHeader.BitRateSwitch = FDCAN_BRS_ON;
  TxHeader.FDFormat = FDCAN_FD_CAN;
  TxHeader.TxEventFifoControl = FDCAN_NO_TX_EVENTS;
  TxHeader.MessageMarker = 0;

  //Acceration starter
  int16_t ax, ay, az;
  uint8_t who_am_i = read_register(WHO_AM_I_REG);
  if (who_am_i != 0x1A) {  // El valor esperado para MMA8451
      Error_Handler();
  }
  // Config. Acceleration
  write_register(CTRL_REG1, 0x01);  // Activar a 800Hz en modo activo
  HAL_Delay(10);

  /* USER CODE END 2 */

  /* Infinite loop */
  while (1)
  {

    /* USER CODE BEGIN 3 */

	  //DHT Start
      DHT_GetData(&DHT11_Data);
      Temperature = DHT11_Data.Temperature;
      Humidity = DHT11_Data.Humidity;

      //Angle ADC1
	  HAL_ADC_Start(&hadc1);
	  HAL_ADC_PollForConversion(&hadc1, 10);
	  ADC_VAL=HAL_ADC_GetValue(&hadc1);
	  HAL_ADC_Stop(&hadc1);
	  voltage = (float)(ADC_VAL*3.3f)/ 65535.0f;
	  angle = (voltage*235)/3.3;

	  //Read accel
	  read_accel(&ax, &ay, &az);
	  float ax_ms2 = ax / 4096.0f * 9.81f;
	  float ay_ms2 = ay / 4096.0f * 9.81f;
	  float az_ms2 = az / 4096.0f * 9.81f;

	  //Function RPM
	  uint32_t now = HAL_GetTick();
	  if (now - last_time >= 1000) // Cada 1 segundo
	  {
		  rpm = pulse_count * 60;
		  pulse_count = 0;
		  last_time = now;
	  }

	  //Send CAN Bus Data
	  if ( (Node_ID == NODE_A_ID)  )
	  {
		  SendFloat(Temperature,Humidity,angle,ax_ms2,ay_ms2,az_ms2,(float)rpm);
		  HAL_Delay(1000);

	  // Cambiar el valor para el próximo envío (opcional)
	  //float1 += 0.1f;
	  }

	  //Debugger
	  snprintf(msg, sizeof(msg), "f1: %.2f, f2: %.2f, f3: %.2f  \r\n  f4: %.2f, f5: %.2f \r\n f6: %.2f, f7: %.2f \r\n", Temperature,Humidity,angle,ax_ms2,ay_ms2,az_ms2,float1);
	  HAL_UART_Transmit(&huart3, (uint8_t*)msg, strlen(msg), HAL_MAX_DELAY);

	  HAL_Delay(1000);

  }
  /* USER CODE END 3 */
}
